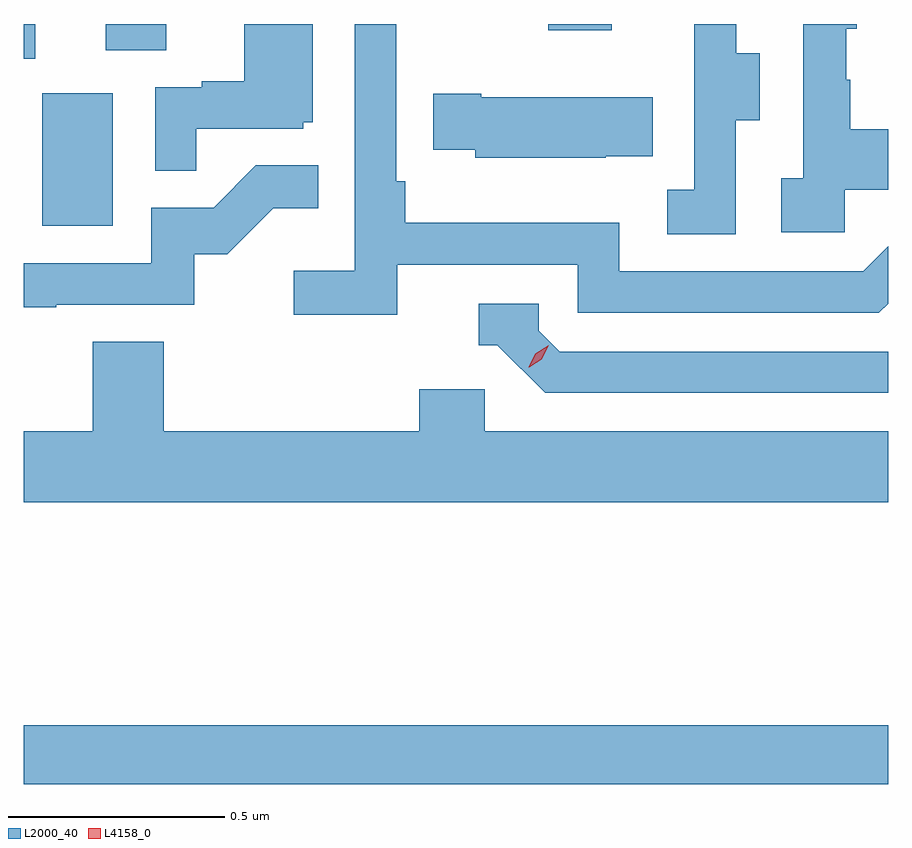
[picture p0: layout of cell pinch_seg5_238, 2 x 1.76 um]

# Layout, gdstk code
import gdstk
lib = gdstk.Library(unit=1e-6, precision=1e-09)
def R(c, l, rs):  # rectangles x0, y0, x1, y1
    for r in rs: c.add(gdstk.rectangle(r[:2], r[2:], *l))
def P(c, l, *ps):  # polygons
    for p in ps: c.add(gdstk.Polygon(p, *l))
L2000_40 = (2000, 40)
L4158_0 = (4158, 0)

pinch_seg5_238 = lib.new_cell('pinch_seg5_238')
R(pinch_seg5_238, L2000_40, [(970.25,897.4,972.25,897.536), (970.292,898.692,970.456,898.999), (970.25,899.079,970.276,899.159), (970.439,899.098,970.579,899.159), (971.464,899.145,971.611,899.159)])
P(pinch_seg5_238, L2000_40, [(970.649,898.917),(970.896,898.917),(970.896,898.932),(970.918,898.932),(970.918,899.159),(970.76,899.159),(970.76,899.026),(970.661,899.026),(970.661,899.013),(970.554,899.013),(970.554,898.819),(970.649,898.819)],
  [(971.898,898.936),(971.953,898.936),(971.953,899.091),(971.899,899.091),(971.899,899.159),(971.801,899.159),(971.801,899.079),(971.802,899.079),(971.802,898.775),(971.739,898.775),(971.739,898.672),(971.898,898.672)],
  [(972.15,898.775),(972.25,898.775),(972.25,898.915),(972.163,898.915),(972.163,899.03),(972.153,899.03),(972.153,899.148),(972.178,899.148),(972.178,899.159),(972.054,899.159),(972.054,898.802),(972.003,898.802),(972.003,898.677),(972.15,898.677)],
  [(971.114,898.602),(971.532,898.602),(971.532,898.491),(972.229,898.491),(972.25,898.512),(972.25,898.645),(972.192,898.587),(971.628,898.587),(971.628,898.699),(971.132,898.699),(971.132,898.795),(971.112,898.795),(971.112,899.159),(971.016,899.159),(971.016,898.588),(970.875,898.588),(970.875,898.486),(971.114,898.486)],
  [(971.597,898.853),(971.705,898.853),(971.705,898.99),(971.308,898.99),(971.308,898.998),(971.197,898.998),(971.197,898.868),(971.295,898.868),(971.295,898.85),(971.597,898.85)],
  [(970.325,898.509),(970.644,898.509),(970.644,898.626),(970.72,898.626),(970.827,898.733),(970.931,898.733),(970.931,898.832),(970.787,898.832),(970.689,898.734),(970.545,898.734),(970.545,898.605),(970.25,898.605),(970.25,898.504),(970.325,898.504)],
  [(972.25,898.401),(971.49,898.401),(971.442,898.449),(971.442,898.512),(971.303,898.512),(971.303,898.416),(971.346,898.416),(971.457,898.305),(972.25,898.305)],
  [(972.25,898.216),(971.316,898.216),(971.316,898.314),(971.165,898.314),(971.165,898.216),(970.574,898.216),(970.574,898.424),(970.409,898.424),(970.409,898.216),(970.25,898.216),(970.25,898.052),(972.25,898.052)])
P(pinch_seg5_238, L4158_0, [(971.418,898.364),(971.418,898.364),(971.434,898.396),(971.465,898.416),(971.465,898.416),(971.465,898.415),(971.449,898.383),(971.419,898.364)])

lib.write_gds('pinch_seg5_238.gds')
